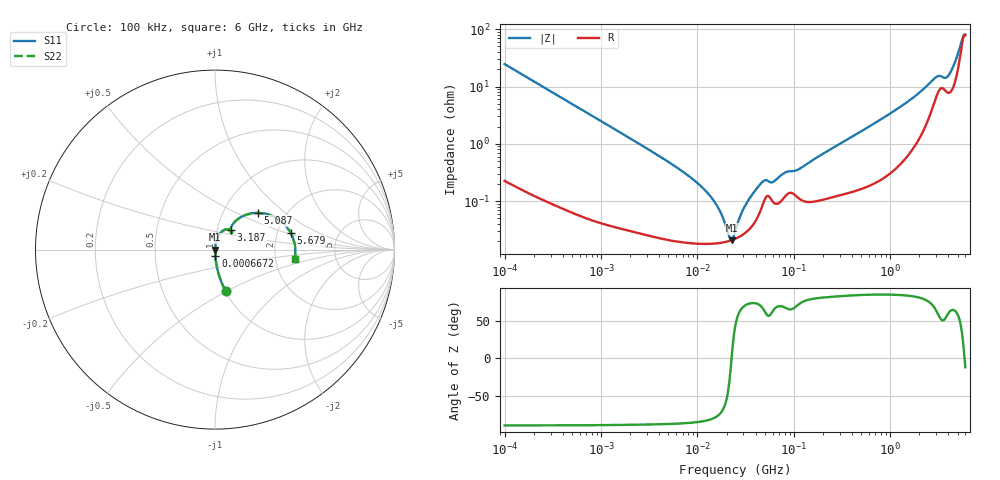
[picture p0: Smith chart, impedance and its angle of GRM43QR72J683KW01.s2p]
!Murata Part Number: GRM43QR72J683KW01
!These Parameters are Measured in Series Mode Connection
!Data Generated on Mar 30, 2021
!  o--ll--o
!Port1  Port2
!  o------o
!Operation Temp=25[degC], DC Bias Voltage=0[V]
!Freq. Start=100[kHz] Stop=6[GHz] 401[Steps]
# Hz S RI R 50
!Freq.(Hz) S11(Real) S11(Imag) S21(Real) S21(Imag) S12(Real) S12(Imag) S22(Real) S22(Imag)
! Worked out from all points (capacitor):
!   401 points, 100 kHz to 6 GHz, reference 50 ohm
!   read as one part in series: C = 64.5 nF near 105.7 kHz
!   lowest |Z| = 20.8 mohm at 22.55 MHz (marker M1)
!   series resonance near 22.57 MHz, so ESL is about 770 pH
!   S11 on the Smith chart (normalised r, x): 100 kHz: 1.00, -0.49; 667.2 kHz: 1.00, -0.07; 3.187 GHz: 1.17, +0.26; 5.087 GHz: 1.45, +0.66; 5.679 GHz: 2.39, +0.55; 6 GHz: 2.58, -0.34
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100000  0.0591 -0.2313  0.9409 0.2313  0.9409 0.2313  0.0591 -0.2313
631452  0.00208 -0.0393  0.9979 0.0393  0.9979 0.0393  0.00208 -0.0393
667162  0.0019 -0.0372  0.9981 0.0372  0.9981 0.0372  0.0019 -0.0372
3987316  0.000263 -0.00614  0.9997 0.00614  0.9997 0.00614  0.000263 -0.00614
8151931  0.000192 -0.00272  0.9998 0.00272  0.9998 0.00272  0.000192 -0.00272
1.265862e7  0.000181 -0.00139  0.9998 0.00139  0.9998 0.00139  0.000181 -0.00139
1.666634e7  0.000185 -0.000705  0.9998 0.000705  0.9998 0.000705  0.000185 -0.000705
2.134758e7  0.000201 -0.000128  0.9998 0.000128  0.9998 0.000128  0.000201 -0.000128
2.255483e7  0.000208 -1.1e-06  0.9998 1.1e-06  0.9998 1.1e-06  0.000208 -1.1e-06
2.517799e7  0.000224 0.000256  0.9998 -0.000256  0.9998 -0.000256  0.000224 0.000256
3.224998e7  0.000291 0.00087  0.9997 -0.00087  0.9997 -0.00087  0.000291 0.00087
4.739851e7  0.00086 0.002  0.9991 -0.002  0.9991 -0.002  0.00086 0.002
6.07118e7  0.000969 0.00192  0.999 -0.00192  0.999 -0.00192  0.000969 0.00192
7.993314e7  0.00118 0.00288  0.9988 -0.00288  0.9988 -0.00288  0.00118 0.00288
1.546735e8  0.000993 0.00502  0.999 -0.00502  0.999 -0.00502  0.000993 0.00502
9.76689e8  0.00403 0.0328  0.996 -0.0328  0.996 -0.0328  0.00403 0.0328
3.187187e9  0.0906 0.1073  0.9094 -0.1073  0.9094 -0.1073  0.0906 0.1073
3.971646e9  0.0859 0.112  0.9141 -0.112  0.9141 -0.112  0.0859 0.112
4.557193e9  0.1272 0.1699  0.8728 -0.1699  0.8728 -0.1699  0.1272 0.1699
5.087202e9  0.2391 0.2052  0.7609 -0.2052  0.7609 -0.2052  0.2391 0.2052
5.678851e9  0.4242 0.0929  0.5758 -0.0929  0.5758 -0.0929  0.4242 0.0929
6e9  0.4463 -0.052  0.5537 0.052  0.5537 0.052  0.4463 -0.052
